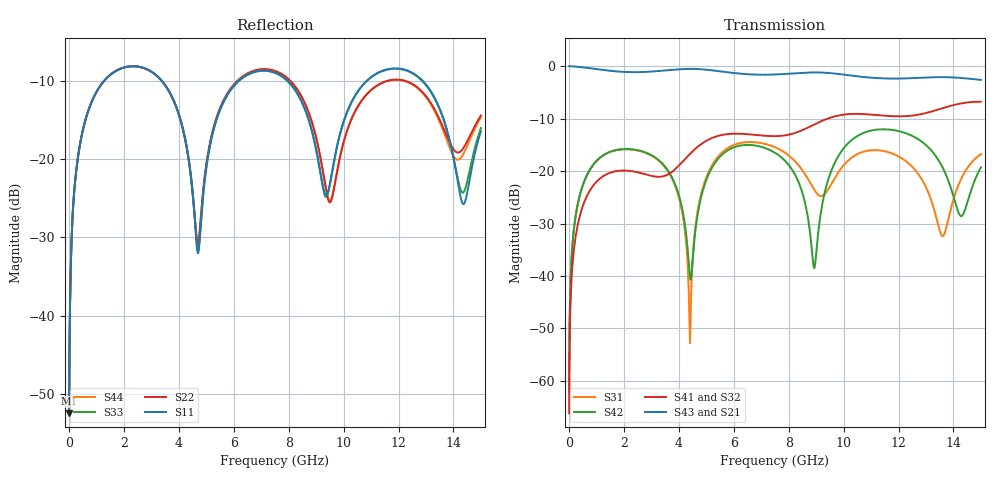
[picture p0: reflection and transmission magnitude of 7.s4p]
! Created with skrf 1.8.0 (http://scikit-rf.org).
# GHz S RI R 50.0
!freq ReS11 ImS11 ReS12 ImS12 ReS13 ImS13
! ReS14 ImS14
! ReS21 ImS21 ReS22 ImS22 ReS23 ImS23
! ReS24 ImS24
! ReS31 ImS31 ReS32 ImS32 ReS33 ImS33
! ReS34 ImS34
! ReS41 ImS41 ReS42 ImS42 ReS43 ImS43
! ReS44 ImS44
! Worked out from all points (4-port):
!   2499 points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, 5 MHz to 15 GHz, reference 50 ohm
!   strongest paths, dB at 5 MHz, 3.476 GHz, 7.19 GHz, 11.1 GHz, 15 GHz:
!     S43: 0.0, -0.8, -1.6, -2.2, -2.6
!     S21: 0.0, -0.8, -1.6, -2.2, -2.6
!     S41: -66.2, -20.9, -13.3, -9.3, -6.8
!     S32: -66.2, -20.9, -13.3, -9.3, -6.8
!     S42: -62.2, -19.0, -15.7, -12.2, -19.3
!     S31: -62.2, -19.2, -14.9, -16.0, -16.8
!   lowest |S11| = -52.4 dB at 5 MHz (marker M1), VSWR 1.00, Z = 50.2 + j0.145 ohm
!   |S11| at or under -10 dB: 3.371 GHz to 6.189 GHz (2.818 GHz wide, 59 % of centre); 7.951 GHz to 10.85 GHz (2.9 GHz wide, 30.9 % of centre); 12.87 GHz to end of sweep (the widest 3 of 4)
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0.005  0.00191 0.00144  0.9981 -0.00371  9.72e-05 0.000774  -9.43e-05 -0.000483
       0.9981 -0.00371  0.00191 0.00144  -9.43e-05 -0.000483  9.72e-05 0.000774
       9.72e-05 0.000774  -9.43e-05 -0.000483  0.00191 0.00144  0.9981 -0.00371
       -9.43e-05 -0.000483  9.72e-05 0.000774  0.9981 -0.00371  0.00191 0.00144
0.3126303  0.031 0.0936  0.9574 -0.2291  0.0148 0.0451  -0.0123 -0.0275
           0.9574 -0.2291  0.031 0.0936  -0.0123 -0.0275  0.0149 0.045
           0.0148 0.0451  -0.0123 -0.0275  0.031 0.0936  0.9574 -0.2291
           -0.0123 -0.0275  0.0149 0.045  0.9574 -0.2291  0.031 0.0936
1.419341  0.289 0.1682  0.5065 -0.752  0.1373 0.0582  -0.0945 0.00122
          0.5065 -0.752  0.2884 0.1687  -0.0945 0.00123  0.1385 0.0563
          0.1373 0.0582  -0.0945 0.00123  0.289 0.1683  0.5065 -0.752
          -0.0945 0.00122  0.1385 0.0563  0.5065 -0.752  0.2885 0.1687
4.401834  0.0399 -0.0781  -0.9025 -0.2648  0.0023 -0.000676  -0.0363 0.1405
          -0.9025 -0.2648  0.0425 -0.0754  -0.0362 0.1406  -0.00904 -0.00438
          0.0023 -0.000676  -0.0362 0.1406  0.0406 -0.0797  -0.9023 -0.2651
          -0.0363 0.1405  -0.00904 -0.00438  -0.9023 -0.2651  0.0427 -0.077
5.621092  0.1621 0.1641  -0.7485 0.4679  0.1329 0.0779  0.1496 0.164
          -0.7485 0.4679  0.1676 0.1655  0.1496 0.1639  0.1187 0.0864
          0.1329 0.0779  0.1496 0.1639  0.1614 0.1621  -0.7489 0.4681
          0.1496 0.164  0.1187 0.0864  -0.7489 0.4681  0.1662 0.1641
9.510213  0.0627 0.0331  0.8526 0.0903  -0.0336 0.0636  0.0229 -0.3211
          0.8526 0.0903  0.0529 -0.00177  0.0229 -0.3212  0.0579 0.0739
          -0.0336 0.0636  0.0229 -0.3212  0.0611 0.0336  0.8528 0.0875
          0.0229 -0.3211  0.0579 0.0739  0.8528 0.0875  0.0544 -0.00106
15  0.1046 0.1076  -0.7091 0.2088  0.1219 0.0774  0.1624 0.4284
    -0.7091 0.2088  0.1636 0.0957  0.1631 0.4267  0.102 0.0365
    0.1219 0.0774  0.1631 0.4267  0.1169 0.1055  -0.706 0.218
    0.1624 0.4284  0.102 0.0365  -0.706 0.218  0.155 0.1
